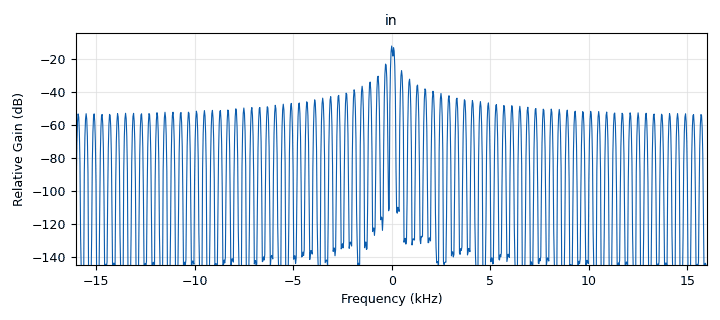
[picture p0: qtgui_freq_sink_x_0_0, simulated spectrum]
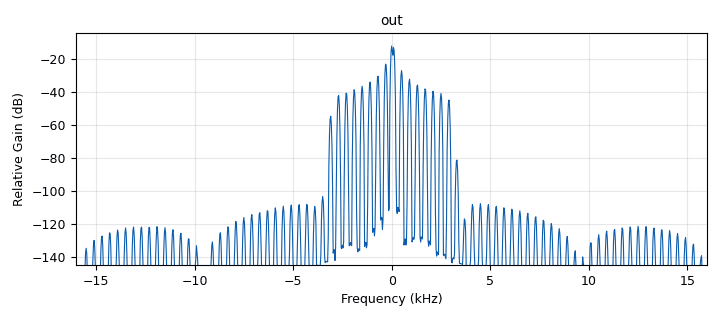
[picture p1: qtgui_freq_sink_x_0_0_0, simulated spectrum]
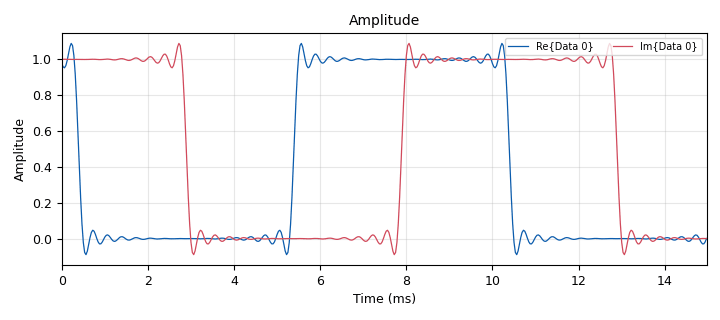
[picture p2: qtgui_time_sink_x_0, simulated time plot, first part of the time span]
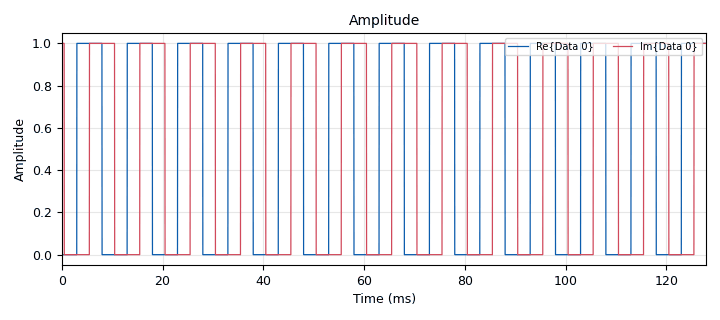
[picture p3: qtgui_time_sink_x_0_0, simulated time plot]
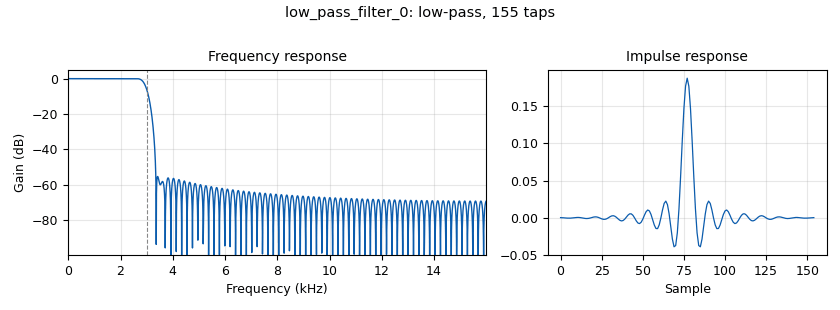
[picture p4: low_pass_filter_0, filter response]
options:
  parameters:
    author: Vazquez Leonardo
    generate_options: qt_gui
    id: lp_filter
    output_language: python
    title: Low pass filter
  states: {}

blocks:
- name: amplitude
  id: variable_qtgui_range
  parameters:
    label: amplitude
    start: '1'
    step: '0.5'
    stop: '10'
    value: '1'
  states: {}
- name: frequency
  id: variable_qtgui_range
  parameters:
    label: frequency
    start: '100'
    step: '100'
    stop: '10000'
    value: '100'
  states: {}
- name: samp_rate
  id: variable
  parameters:
    value: '32000'
  states: {}
- name: analog_sig_source_x_0
  id: analog_sig_source_x
  parameters:
    amp: amplitude
    freq: frequency
    offset: '0'
    phase: '0'
    samp_rate: samp_rate
    type: complex
    waveform: analog.GR_SQR_WAVE
  states: {}
- name: blocks_throttle_0
  id: blocks_throttle
  parameters:
    samples_per_second: samp_rate
    type: complex
  states: {}
- name: low_pass_filter_0
  id: low_pass_filter
  parameters:
    cutoff_freq: '3000'
    decim: '1'
    gain: '1'
    samp_rate: samp_rate
    type: fir_filter_ccf
    width: '500'
    win: window.WIN_HAMMING
  states: {}
- name: qtgui_freq_sink_x_0_0
  id: qtgui_freq_sink_x
  parameters:
    autoscale: 'True'
    average: '0.1'
    bw: samp_rate
    fc: '0'
    fftsize: '1024'
    name: '"in"'
    type: complex
  states: {}
- name: qtgui_freq_sink_x_0_0_0
  id: qtgui_freq_sink_x
  parameters:
    autoscale: 'True'
    average: '0.1'
    bw: samp_rate
    fc: '0'
    fftsize: '1024'
    name: '"out"'
    type: complex
  states: {}
- name: qtgui_time_sink_x_0
  id: qtgui_time_sink_x
  parameters:
    autoscale: 'True'
    name: '"Amplitude"'
    size: '4096'
    srate: samp_rate
    type: complex
  states: {}
- name: qtgui_time_sink_x_0_0
  id: qtgui_time_sink_x
  parameters:
    autoscale: 'True'
    name: '"Amplitude"'
    size: '4096'
    srate: samp_rate
    type: complex
  states: {}

connections:
- [analog_sig_source_x_0, '0', low_pass_filter_0, '0']
- [analog_sig_source_x_0, '0', qtgui_freq_sink_x_0_0, '0']
- [analog_sig_source_x_0, '0', qtgui_time_sink_x_0_0, '0']
- [blocks_throttle_0, '0', qtgui_freq_sink_x_0_0_0, '0']
- [blocks_throttle_0, '0', qtgui_time_sink_x_0, '0']
- [low_pass_filter_0, '0', blocks_throttle_0, '0']

metadata:
  file_format: 1
